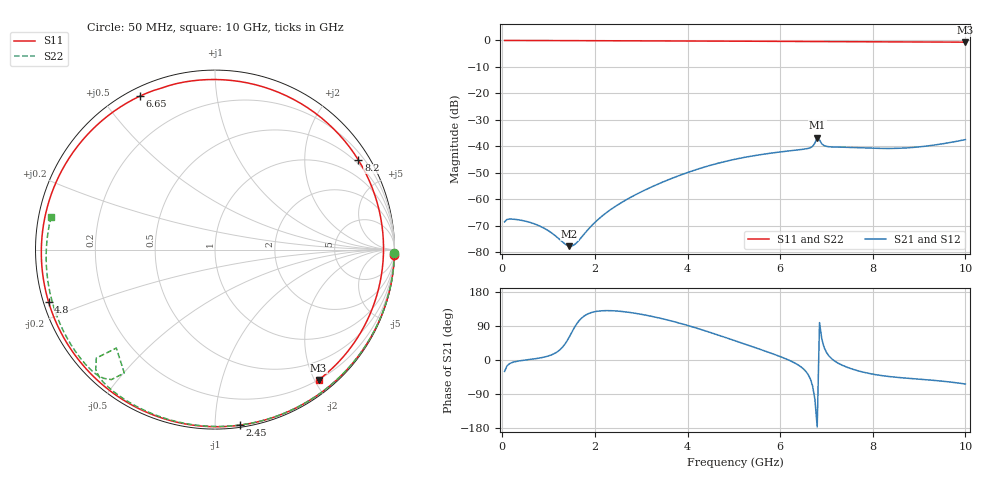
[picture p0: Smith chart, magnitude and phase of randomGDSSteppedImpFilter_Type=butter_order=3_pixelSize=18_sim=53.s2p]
! freq	dB(S11)	phase(S11)	dB(S12)	phase(S12)
!  dB(S21)	phase(S21)	dB(S22)	phase(S22)
!S-par simulation data
#  GHz  S  DB  R 50
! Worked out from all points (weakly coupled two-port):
!   200 points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, 50 MHz to 10 GHz, reference 50 ohm
!   highest |S21| = -36.70 dB at 6.8 GHz (marker M1); lowest = -77.8 dB at 1.45 GHz (marker M2)
!   lowest |S11| = -0.7 dB at 10 GHz (marker M3), VSWR 26.58, Z = 9.9 - j103 ohm
!   |S11| at or under -10 dB: nowhere
!   |S22| runs from -2.2 to 0.0 dB; largest |S21 - S12| = 0
!   S11 on the Smith chart (normalised r, x): 50 MHz: 0, -67; 2.45 GHz: 0.01, -1.15; 4.8 GHz: 0.01, -0.15; 6.65 GHz: 0.03, +0.62; 8.2 GHz: 0.39, +3.45; 10 GHz: 0.20, -2.06
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0.05  -0.00 -1.7  -68.61 -30.0  -68.61 -30.0  -0.00 -1.1
0.25  -0.00 -8.5  -67.62 -5.2  -67.62 -5.2  -0.00 -5.4
0.7  -0.02 -23.8  -69.41 3.2  -69.41 3.2  -0.01 -15.1
1.45  -0.06 -48.8  -77.81 61.6  -77.81 61.6  -0.04 -31.0
1.75  -0.07 -58.8  -73.57 114.4  -73.57 114.4  -0.05 -37.2
2.45  -0.10 -81.8  -62.66 129.5  -62.66 129.5  -0.07 -51.6
3.4  -0.15 -113.2  -54.04 110.5  -54.04 110.5  -0.09 -70.4
4.1  -0.19 -137.1  -49.36 87.7  -49.36 87.7  -0.12 -83.8
4.8  -0.25 -162.4  -45.82 60.2  -45.82 60.2  -0.14 -96.8
5.05  -0.27 -172.0  -44.84 49.8  -44.84 49.8  -0.16 -101.3
5.85  -0.35 154.6  -42.51 15.9  -42.51 15.9  -0.20 -115.9
6.65  -0.43 116.1  -40.59 -49.2  -40.59 -49.2  -0.39 -132.8
6.7  -0.43 113.6  -40.07 -68.1  -40.07 -68.1  -0.52 -134.9
6.75  -0.44 111.0  -38.82 -103.7  -38.82 -103.7  -0.95 -137.6
6.8  -0.46 108.4  -36.70 -176.6  -36.70 -176.6  -2.20 -135.1
6.85  -0.46 105.9  -37.65 98.7  -37.65 98.7  -1.38 -126.3
6.9  -0.45 103.2  -39.13 55.0  -39.13 55.0  -0.67 -128.6
7.45  -0.49 73.3  -40.42 -19.3  -40.42 -19.3  -0.33 -142.6
8.2  -0.52 32.0  -40.83 -41.3  -40.83 -41.3  -0.39 -156.5
8.35  -0.53 23.9  -40.85 -43.6  -40.85 -43.6  -0.41 -159.2
9.1  -0.56 -13.5  -40.07 -51.5  -40.07 -51.5  -0.50 -173.3
10  -0.65 -51.5  -37.51 -63.4  -37.51 -63.4  -0.62 168.7
